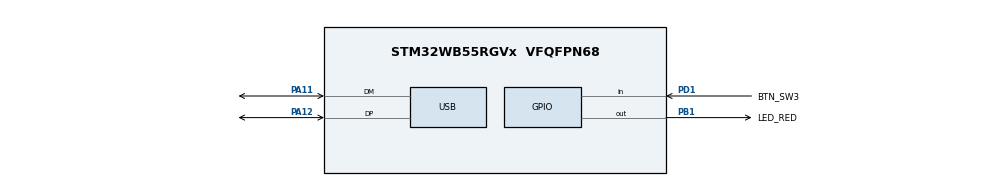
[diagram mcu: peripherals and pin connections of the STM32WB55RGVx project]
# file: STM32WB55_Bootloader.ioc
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Mcu.Family=STM32WB
Mcu.Name=STM32WB55RGVx
Mcu.Package=VFQFPN68
NVIC.PriorityGroup=NVIC_PRIORITYGROUP_4
NVIC.USB_HP_IRQn=true\:0\:0\:false\:false\:true\:true\:true\:true
NVIC.USB_LP_IRQn=true\:0\:0\:false\:false\:true\:true\:true\:true
PA11.Mode=Device
PA11.Signal=USB_DM
PA12.Mode=Device
PA12.Signal=USB_DP
PB1.GPIO_Label=LED_RED
PB1.Signal=GPIO_Output
PD1.GPIO_Label=BTN_SW3
PD1.GPIO_PuPd=GPIO_PULLUP
PD1.Signal=GPIO_Input
ProjectManager.HeapSize=0x1000
ProjectManager.StackSize=0x1000
ProjectManager.TargetToolchain=STM32CubeIDE
RCC.ADCFreq_Value=48000000
RCC.AHB2CLKDivider=RCC_SYSCLK_DIV2
RCC.AHBFreq_Value=64000000
RCC.APB1Freq_Value=64000000
RCC.APB1TimFreq_Value=64000000
RCC.APB2Freq_Value=64000000
RCC.APB2TimFreq_Value=64000000
RCC.APB3Freq_Value=16000000
RCC.Cortex2_Div=SYSTICK_CLKSOURCE_HCLK_DIV8
RCC.CortexFreq_Value=64000000
RCC.HCLKFreq_Value=64000000
RCC.HSE_VALUE=32000000
RCC.HSI48_VALUE=48000000
RCC.HSI_VALUE=16000000
RCC.LSE_VALUE=32768
RCC.PLLN=32
RCC.PLLSAI1N=24
RCC.SYSCLKFreq_VALUE=64000000
RCC.SYSCLKSource=RCC_SYSCLKSOURCE_PLLCLK
RCC.USBFreq_Value=48000000
RCC.VCOOutputFreq_Value=128000000
USB_DEVICE.CLASS_NAME_FS=DFU
USB_DEVICE.USBD_DFU_APP_DEFAULT_ADD=0x08020000
USB_DEVICE.USBD_DFU_MEDIA=@Internal Flash   /0x08000000/16*4Ka,16*4Kg,48*4Kg,16*4Kg
USB_DEVICE.VirtualMode=Dfu
USB_DEVICE.VirtualModeFS=Dfu_FS
VP_USB_DEVICE_VS_USB_DEVICE_DFU_FS.Mode=DFU_FS
board=custom

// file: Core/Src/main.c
/* USER CODE BEGIN Header */
/**
  ******************************************************************************
  * @file           : main.c
  * @brief          : Main program body
  ******************************************************************************
  * @attention
  *
  * Copyright (c) 2022 STMicroelectronics.
  * All rights reserved.
  *
  * This software is licensed under terms that can be found in the LICENSE file
  * in the root directory of this software component.
  * If no LICENSE file comes with this software, it is provided AS-IS.
  *
  ******************************************************************************
  */
/* USER CODE END Header */
#include "main.h"
#include "gpio.h"

/* USER CODE BEGIN Includes */
#ifdef __USART_H__
#include "stdio.h"
__attribute__((weak)) int _write(int file, char *ptr, int len)
{
	 if(HAL_UART_Transmit(&huart1,(uint8_t *)ptr,len,0xffff) != HAL_OK)
	 {
		 Error_Handler();
	 }

	 return len;
}
#endif
/* USER CODE END Includes */

void SystemClock_Config(void);
void PeriphCommonClock_Config(void);

/* USER CODE BEGIN 0 */
static void jumpToDFU(void)
{
	printf("STM32WB55 BootLoader: DFU Mode\r\n");

	MX_USB_Device_Init();
}

static void jumpToRTOS(void)
{
	typedef  void (*pFunction)(void);
	static pFunction JumpToApplication;
	static uint32_t JumpAddress;

	/* Test if user code is programmed starting from USBD_DFU_APP_DEFAULT_ADD * address */
	if (((*(__IO uint32_t *) USBD_DFU_APP_DEFAULT_ADD) & 0x2FFC0000) == 0x20000000)
	{
		printf("STM32WB55 BootLoader: User Mode\r\n");
		/* Jump to user application */
		JumpAddress = *(__IO uint32_t *) (USBD_DFU_APP_DEFAULT_ADD + 4);
		JumpToApplication = (pFunction) JumpAddress;

		/* Initialize user application's Stack Pointer */
		__set_MSP((*(__IO uint32_t *) USBD_DFU_APP_DEFAULT_ADD));
		JumpToApplication();
	}
}

static void bootMode(void)
{
	if (HAL_GPIO_ReadPin(GPIOD,BTN_SW3_Pin) == GPIO_PIN_RESET )
	{
		jumpToDFU();
	}
	else
	{
		jumpToRTOS();
	}

	jumpToDFU();
}
/* USER CODE END 0 */

int main(void)
{

  /* MCU Configuration--------------------------------------------------------*/

  /* Reset of all peripherals, Initializes the Flash interface and the Systick. */
  HAL_Init();

  /* Configure the system clock */
  SystemClock_Config();

/* Configure the peripherals common clocks */
  PeriphCommonClock_Config();

  /* Initialize all configured peripherals */
  MX_GPIO_Init();
  /* USER CODE BEGIN 2 */

  bootMode();

  /* USER CODE END 2 */

  /* Infinite loop */
  while (1)
  {

    /* USER CODE BEGIN 3 */
	  HAL_GPIO_TogglePin(LED_RED_GPIO_Port,LED_RED_Pin);
	  HAL_Delay(1000);
  }
  /* USER CODE END 3 */
}

void SystemClock_Config(void)
{
  RCC_OscInitTypeDef RCC_OscInitStruct = {0};
  RCC_ClkInitTypeDef RCC_ClkInitStruct = {0};

  /** Configure the main internal regulator output voltage
  */
  __HAL_PWR_VOLTAGESCALING_CONFIG(PWR_REGULATOR_VOLTAGE_SCALE1);

  /** Initializes the RCC Oscillators according to the specified parameters
  * in the RCC_OscInitTypeDef structure.
  */
  RCC_OscInitStruct.OscillatorType = RCC_OSCILLATORTYPE_HSI|RCC_OSCILLATORTYPE_LSE
                              |RCC_OSCILLATORTYPE_MSI;
  RCC_OscInitStruct.LSEState = RCC_LSE_OFF;
  RCC_OscInitStruct.HSIState = RCC_HSI_ON;
  RCC_OscInitStruct.MSIState = RCC_MSI_ON;
  RCC_OscInitStruct.HSICalibrationValue = RCC_HSICALIBRATION_DEFAULT;
  RCC_OscInitStruct.MSICalibrationValue = RCC_MSICALIBRATION_DEFAULT;
  RCC_OscInitStruct.MSIClockRange = RCC_MSIRANGE_6;
  RCC_OscInitStruct.PLL.PLLState = RCC_PLL_ON;
  RCC_OscInitStruct.PLL.PLLSource = RCC_PLLSOURCE_MSI;
  RCC_OscInitStruct.PLL.PLLM = RCC_PLLM_DIV1;
  RCC_OscInitStruct.PLL.PLLN = 32;
  RCC_OscInitStruct.PLL.PLLP = RCC_PLLP_DIV2;
  RCC_OscInitStruct.PLL.PLLR = RCC_PLLR_DIV2;
  RCC_OscInitStruct.PLL.PLLQ = RCC_PLLQ_DIV2;
  if (HAL_RCC_OscConfig(&RCC_OscInitStruct) != HAL_OK)
  {
    Error_Handler();
  }

  /** Configure the SYSCLKSource, HCLK, PCLK1 and PCLK2 clocks dividers
  */
  RCC_ClkInitStruct.ClockType = RCC_CLOCKTYPE_HCLK4|RCC_CLOCKTYPE_HCLK2
                              |RCC_CLOCKTYPE_HCLK|RCC_CLOCKTYPE_SYSCLK
                              |RCC_CLOCKTYPE_PCLK1|RCC_CLOCKTYPE_PCLK2;
  RCC_ClkInitStruct.SYSCLKSource = RCC_SYSCLKSOURCE_PLLCLK;
  RCC_ClkInitStruct.AHBCLKDivider = RCC_SYSCLK_DIV1;
  RCC_ClkInitStruct.APB1CLKDivider = RCC_HCLK_DIV1;
  RCC_ClkInitStruct.APB2CLKDivider = RCC_HCLK_DIV1;
  RCC_ClkInitStruct.AHBCLK2Divider = RCC_SYSCLK_DIV2;
  RCC_ClkInitStruct.AHBCLK4Divider = RCC_SYSCLK_DIV1;

  if (HAL_RCC_ClockConfig(&RCC_ClkInitStruct, FLASH_LATENCY_3) != HAL_OK)
  {
    Error_Handler();
  }

  /** Enable MSI Auto calibration
  */
  HAL_RCCEx_EnableMSIPLLMode();
}

void PeriphCommonClock_Config(void)
{
  RCC_PeriphCLKInitTypeDef PeriphClkInitStruct = {0};

  /** Initializes the peripherals clock
  */
  PeriphClkInitStruct.PeriphClockSelection = RCC_PERIPHCLK_SMPS;
  PeriphClkInitStruct.SmpsClockSelection = RCC_SMPSCLKSOURCE_HSI;
  PeriphClkInitStruct.SmpsDivSelection = RCC_SMPSCLKDIV_RANGE1;

  if (HAL_RCCEx_PeriphCLKConfig(&PeriphClkInitStruct) != HAL_OK)
  {
    Error_Handler();
  }
}

void Error_Handler(void)
{
  __disable_irq();
  while (1)
  {
  }
}
